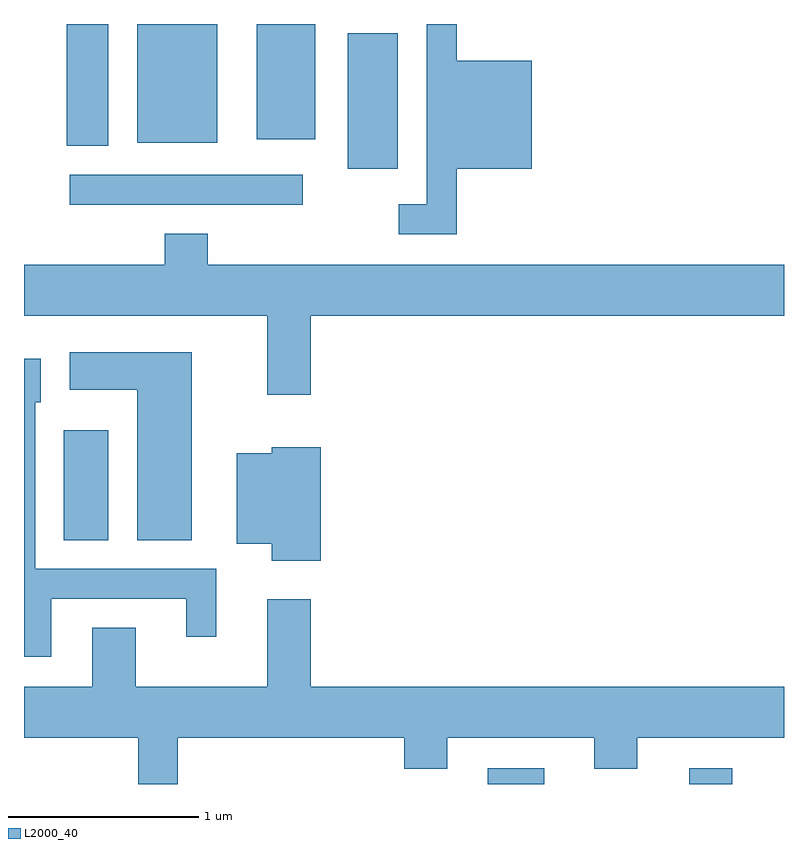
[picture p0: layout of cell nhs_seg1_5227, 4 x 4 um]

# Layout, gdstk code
import gdstk
lib = gdstk.Library(unit=1e-6, precision=1e-09)
def R(c, l, rs):  # rectangles x0, y0, x1, y1
    for r in rs: c.add(gdstk.rectangle(r[:2], r[2:], *l))
def P(c, l, *ps):  # polygons
    for p in ps: c.add(gdstk.Polygon(p, *l))
L2000_40 = (2000, 40)

nhs_seg1_5227 = lib.new_cell('nhs_seg1_5227')
R(nhs_seg1_5227, L2000_40, [(344.051,963.712,344.349,963.794), (345.111,963.712,345.339,963.794), (341.821,964.996,342.054,965.574), (341.853,966.761,343.078,966.919), (343.316,966.951,343.579,967.664), (342.206,967.086,342.629,967.712), (342.836,967.106,343.144,967.712)])
P(nhs_seg1_5227, L2000_40, [(343.889,966.951),(344.284,966.951),(344.284,967.519),(343.889,967.519),(343.889,967.712),(343.731,967.712),(343.731,966.764),(343.583,966.764),(343.583,966.606),(343.889,966.606)],
  [(342.054,967.712),(341.611,967.712),(341.611,967.711),(341.836,967.711),(341.836,967.071),(342.054,967.071)],
  [(343.119,966.176),(345.611,966.176),(345.611,966.444),(342.579,966.444),(342.579,966.609),(342.351,966.609),(342.351,966.444),(341.611,966.444),(341.611,966.176),(342.891,966.176),(342.891,965.761),(343.119,965.761)],
  [(342.494,965.984),(341.851,965.984),(341.851,965.786),(342.206,965.786),(342.206,964.996),(342.494,964.996)],
  [(341.754,964.686),(342.466,964.686),(342.466,964.488),(342.624,964.488),(342.624,964.844),(341.669,964.844),(341.669,965.721),(341.699,965.721),(341.699,965.949),(341.611,965.949),(341.611,964.381),(341.754,964.381)],
  [(343.174,965.484),(342.916,965.484),(342.916,965.454),(342.731,965.454),(342.731,964.976),(342.916,964.976),(342.916,964.886),(343.174,964.886)],
  [(342.419,963.956),(343.611,963.956),(343.611,963.791),(343.839,963.791),(343.839,963.956),(344.611,963.956),(344.611,963.791),(344.839,963.791),(344.839,963.956),(345.611,963.956),(345.611,964.224),(343.119,964.224),(343.119,964.684),(342.891,964.684),(342.891,964.224),(342.199,964.224),(342.199,964.534),(341.971,964.534),(341.971,964.224),(341.611,964.224),(341.611,963.956),(342.211,963.956),(342.211,963.712),(342.419,963.712)])

lib.write_gds('nhs_seg1_5227.gds')
